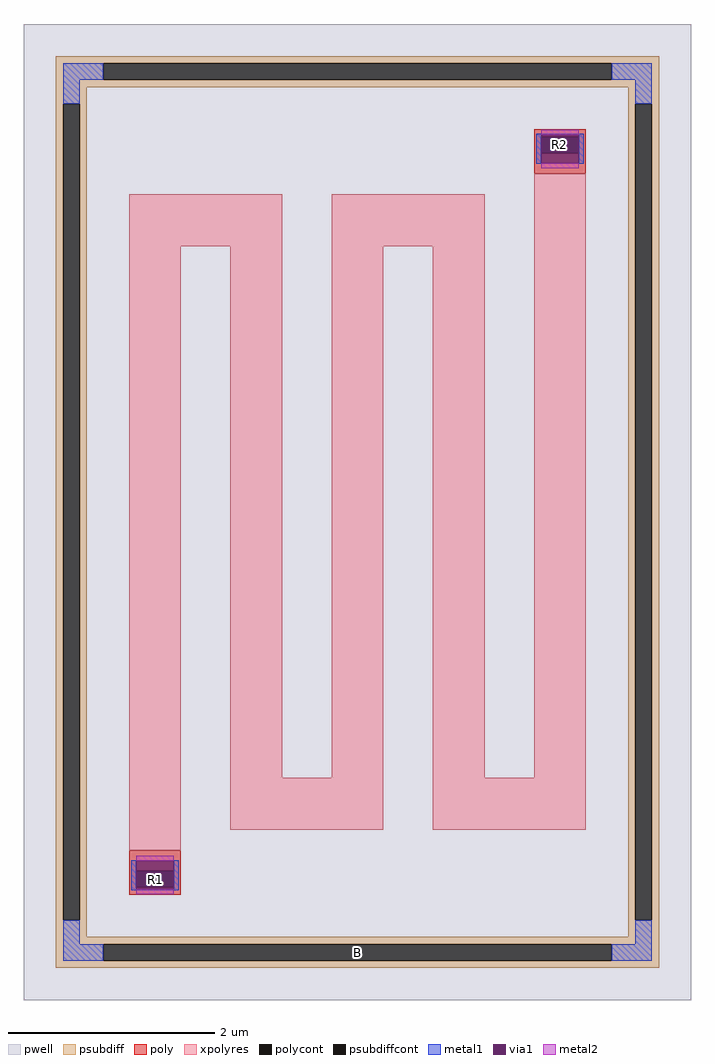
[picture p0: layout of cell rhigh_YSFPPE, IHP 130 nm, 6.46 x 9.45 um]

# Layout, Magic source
magic
tech ihp-sg13g2
magscale 1 2
<< pwell >>
rect -646 -945 646 945
<< psubdiff >>
rect -584 869 584 883
rect -584 837 -492 869
rect 492 837 584 869
rect -584 823 584 837
rect -584 791 -524 823
rect -584 -791 -570 791
rect -538 -791 -524 791
rect 524 791 584 823
rect -584 -823 -524 -791
rect 524 -791 538 791
rect 570 -791 584 791
rect 524 -823 584 -791
rect -584 -837 584 -823
rect -584 -869 -492 -837
rect 492 -869 584 -837
rect -584 -883 584 -869
<< psubdiffcont >>
rect -492 837 492 869
rect -570 -791 -538 791
rect 538 -791 570 791
rect -492 -869 492 -837
<< poly >>
rect 342 727 442 741
rect 342 695 356 727
rect 428 695 442 727
rect 342 655 442 695
rect -442 -695 -342 -655
rect -442 -727 -428 -695
rect -356 -727 -342 -695
rect -442 -741 -342 -727
<< polycont >>
rect 356 695 428 727
rect -428 -727 -356 -695
<< xpolyres >>
rect -442 515 -146 615
rect -442 -655 -342 515
rect -246 -515 -146 515
rect -50 515 246 615
rect -50 -515 50 515
rect -246 -615 50 -515
rect 146 -515 246 515
rect 342 -515 442 655
rect 146 -615 442 -515
<< metal1 >>
rect -570 837 -492 869
rect 492 837 570 869
rect -570 791 -538 837
rect 538 791 570 837
rect 346 731 438 732
rect 346 675 356 731
rect 428 675 438 731
rect 346 674 438 675
rect -438 -675 -346 -674
rect -438 -731 -428 -675
rect -356 -731 -346 -675
rect -438 -732 -346 -731
rect -570 -837 -538 -791
rect 538 -837 570 -791
rect -570 -869 -492 -837
rect 492 -869 570 -837
<< via1 >>
rect 356 727 428 731
rect 356 695 428 727
rect 356 675 428 695
rect -428 -695 -356 -675
rect -428 -727 -356 -695
rect -428 -731 -356 -727
<< metal2 >>
rect 356 731 428 740
rect 356 666 428 675
rect -428 -675 -356 -666
rect -428 -740 -356 -731
<< labels >>
rlabel psubdiffcont 0 -853 0 -853 0 B
port 1 nsew
rlabel polycont -392 -711 -392 -711 0 R1
port 2 nsew
rlabel polycont 392 711 392 711 0 R2
port 3 nsew
<< properties >>
string FIXED_BBOX -554 -853 554 853
string gencell rhigh
string library sg13g2
string parameters w 0.50 l 6.15 m 1 nx 5 wmin 0.50 lmin 0.50 class resistor rho 1360 val 89.08k dummy 0 dw 0.0 term 0.0 sterm 0.0 caplen 0 guard 1 glc 1 grc 1 gtc 1 gbc 1 snake 1 full_metal 1 n_guard 0 hv_guard 0 vias 1 viagb 0 viagt 0 viagl 0 viagr 0 doports 1
<< end >>
